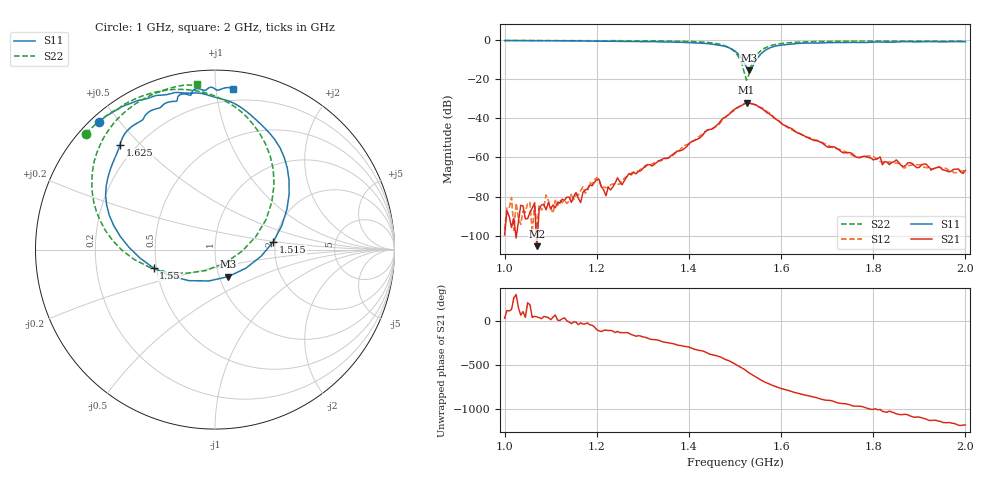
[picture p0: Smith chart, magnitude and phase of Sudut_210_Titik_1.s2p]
# Hz S RI R 50
! CMT, C1220, 16058040, 17.2.0/1
! Date: 14/08/2018 12:57:09
! Data: Format (Calibration Info)
! Freq  S11: Re/Im (F2)  S21: Re/Im (F2)  S12: Re/Im (F2)  S22: Re/Im (F2)
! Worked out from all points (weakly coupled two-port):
!   201 points, 1 GHz to 2 GHz, reference 50 ohm
!   highest |S21| = -32.04 dB at 1.525 GHz (marker M1); lowest = -105.3 dB at 1.07 GHz (marker M2)
!   lowest |S11| = -15.5 dB at 1.53 GHz (marker M3), VSWR 1.40, Z = 55.2 - j17.1 ohm
!   |S11| at or under -10 dB: 1.516 GHz to 1.547 GHz (31.27 MHz wide, 2.04 % of centre)
!   |S22| runs from -20.6 to -0.3 dB; largest |S21 - S12| = 0.001
!   S11 on the Smith chart (normalised r, x): 1 GHz: 0.02, +0.44; 1.515 GHz: 1.95, +0.20; 1.55 GHz: 0.48, -0.11; 1.625 GHz: 0.14, +0.43; 2 GHz: 0.12, +1.11
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1e9  -0.6464 0.7121  8.62e-06 5.88e-06  -6.07e-06 -1.33e-05  -0.7193 0.6457
1.07e9  -0.5674 0.7663  3.59e-06 4.04e-06  -1.48e-05 3.67e-06  -0.6673 0.696
1.15e9  -0.4813 0.8102  9.89e-05 -1.15e-05  7.61e-05 3.14e-05  -0.5975 0.7519
1.17e9  -0.4586 0.8192  0.000109 -6.7e-05  0.000152 -9.25e-05  -0.5768 0.7657
1.175e9  -0.4514 0.8223  0.000128 -7.13e-05  9.35e-05 -7.73e-05  -0.5711 0.7685
1.205e9  -0.4078 0.8346  -9.15e-05 -0.000259  -0.000114 -0.000247  -0.5406 0.7785
1.22e9  -0.3861 0.8393  -1.71e-05 -0.000103  -4.18e-05 -0.000163  -0.5308 0.791
1.245e9  -0.3449 0.8537  -0.000128 -0.000272  -0.000141 -0.000151  -0.5015 0.8111
1.255e9  -0.3297 0.858  -0.000129 -0.000154  -0.000129 -0.000214  -0.488 0.8187
1.27e9  -0.3062 0.86  -0.000279 -0.000265  -0.000269 -0.000235  -0.4673 0.8295
1.335e9  -0.1847 0.8732  -0.000662 0.000492  -0.00059 0.000557  -0.3601 0.8699
1.45e9  0.1965 0.752  0.00495 -0.00178  0.00497 -0.00211  0.0472 0.8334
1.5e9  0.4131 0.3089  -0.00984 -0.014  -0.00926 -0.0132  0.3289 0.3594
1.515e9  0.3253 0.0447  -0.021 -0.00374  -0.0211 -0.00436  0.2273 0.072
1.525e9  0.1728 -0.1031  -0.0227 0.0104  -0.023 0.0103  0.0565 -0.0744
1.53e9  0.0739 -0.1506  -0.0174 0.017  -0.0176 0.0171  -0.0519 -0.1166
1.55e9  -0.3424 -0.1024  0.0067 0.0188  0.00593 0.0191  -0.4488 -0.0557
1.58e9  -0.604 0.2491  0.0115 -0.00112  0.0118 -0.00167  -0.6754 0.2649
1.625e9  -0.5301 0.5825  0.000781 -0.00516  0.000831 -0.00485  -0.6494 0.5615
1.67e9  -0.4144 0.715  -0.00207 -0.0018  -0.00217 -0.00193  -0.5667 0.701
1.835e9  -0.1368 0.8596  0.000318 0.000567  0.000501 0.000591  -0.3149 0.878
2e9  0.0986 0.8944  -7.15e-05 -0.00046  -0.000101 -0.000533  -0.0975 0.9224
